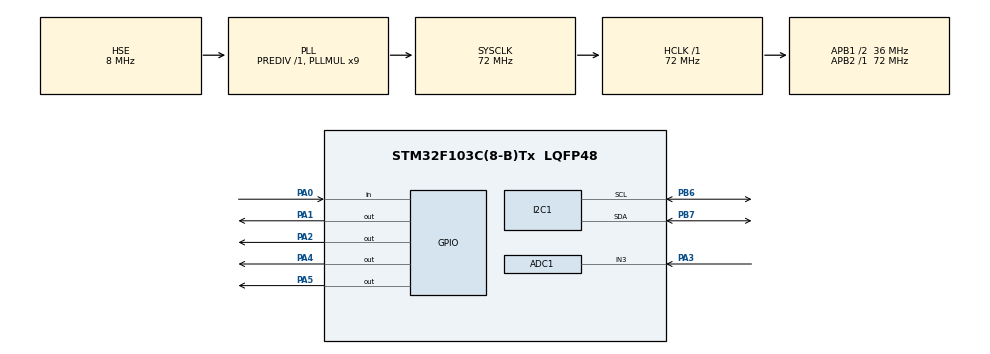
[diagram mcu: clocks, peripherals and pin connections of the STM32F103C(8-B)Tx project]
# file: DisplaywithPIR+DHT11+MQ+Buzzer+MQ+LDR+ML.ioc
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ADC1.Channel-0\#ChannelRegularConversion=ADC_CHANNEL_3
ADC1.NbrOfConversionFlag=1
ADC1.Rank-0\#ChannelRegularConversion=1
ADC1.SamplingTime-0\#ChannelRegularConversion=ADC_SAMPLETIME_1CYCLE_5
ADC1.master=1
I2C1.I2C_Mode=I2C_Fast
Mcu.Family=STM32F1
Mcu.Name=STM32F103C(8-B)Tx
Mcu.Package=LQFP48
NVIC.PriorityGroup=NVIC_PRIORITYGROUP_4
PA0-WKUP.Signal=GPIO_Input
PA1.Signal=GPIO_Output
PA2.Signal=GPIO_Output
PA3.Signal=ADCx_IN3
PA4.Signal=GPIO_Output
PA5.Signal=GPIO_Output
PB6.Mode=I2C
PB6.Signal=I2C1_SCL
PB7.Mode=I2C
PB7.Signal=I2C1_SDA
PD0-OSC_IN.Mode=HSE-External-Oscillator
PD0-OSC_IN.Signal=RCC_OSC_IN
PD1-OSC_OUT.Mode=HSE-External-Oscillator
PD1-OSC_OUT.Signal=RCC_OSC_OUT
ProjectManager.HeapSize=0x200
ProjectManager.StackSize=0x400
ProjectManager.TargetToolchain=STM32CubeIDE
RCC.ADCPresc=RCC_ADCPCLK2_DIV6
RCC.AHBFreq_Value=72000000
RCC.APB1CLKDivider=RCC_HCLK_DIV2
RCC.APB1Freq_Value=36000000
RCC.APB1TimFreq_Value=72000000
RCC.APB2Freq_Value=72000000
RCC.APB2TimFreq_Value=72000000
RCC.HCLKFreq_Value=72000000
RCC.PLLMUL=RCC_PLL_MUL9
RCC.PLLSourceVirtual=RCC_PLLSOURCE_HSE
RCC.SYSCLKFreq_VALUE=72000000
RCC.SYSCLKSource=RCC_SYSCLKSOURCE_PLLCLK
RCC.USBFreq_Value=72000000
SH.ADCx_IN3.0=ADC1_IN3,IN3
VP_SYS_VS_ND.Mode=No_Debug
board=custom

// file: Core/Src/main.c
/* USER CODE BEGIN Header */
/**
  ******************************************************************************
  * @file           : main.c
  * @brief          : HomeMonitoringSystem - PIR, DHT11, MQ-2, LDR DO,
  *                   Buzzer, SSD1306 OLED and compact TinyML classifier.
  ******************************************************************************
  */
/* USER CODE END Header */

#include "main.h"

/* USER CODE BEGIN Includes */
#include "fonts.h"
#include "ssd1306.h"
#include <stdio.h>
/* USER CODE END Includes */

/* USER CODE BEGIN PD */

#define DHT11_PORT              GPIOA
#define DHT11_PIN               GPIO_PIN_2

/* MQ-2 is connected to PA3 / ADC1_IN3. */

/*
 * MQ-2 thresholds are raw STM32 12-bit ADC readings.
 *
 * Initial values only. Tune after observing the normal-air
 * "MQ2 RAW" reading on OLED Page 2.
 */
#define GAS_WARNING_LEVEL       1200U
#define GAS_THRESHOLD           1600U

/* MQ-2 averaging and smoothing. */
#define MQ2_SAMPLE_COUNT        8U
#define MQ2_FILTER_SHIFT        2U

/* Display and sensor scheduling. */
#define DHT_READ_INTERVAL_MS    2000U
#define SENSOR_READ_INTERVAL_MS 200U
#define PAGE_INTERVAL_MS        1000U

/* PIR requires time to stabilize after power-up. */
#define PIR_WARMUP_TIME_MS      60000U

/* TinyML safety-classifier configuration. */
#define ML_ADC_MAX              4095.0f
#define ML_TEMP_NORMAL          25.0f
#define ML_TEMP_WARNING         35.0f
#define ML_TEMP_DANGER          45.0f

typedef enum
{
    ML_SAFE = 0,
    ML_WATCH,
    ML_GAS_LEAK,
    ML_FIRE_RISK,
    ML_INTRUDER
} ML_Class;

typedef struct
{
    ML_Class prediction;
    float confidence;
    float safe_score;
    float watch_score;
    float gas_score;
    float fire_score;
    float intruder_score;
    uint8_t alarm_required;
    uint8_t extinguisher_sim_on;
} ML_Result;

typedef enum
{
    PAGE_ENVIRONMENT = 0,
    PAGE_GAS_LIGHT,
    PAGE_MOTION_ML
} Display_Page;

/* USER CODE END PD */

ADC_HandleTypeDef hadc1;
I2C_HandleTypeDef hi2c1;

/* USER CODE BEGIN PV */

/*
 * Smoothed MQ-2 ADC value.
 */
static uint32_t mq2_filtered_value = 0U;
static uint8_t mq2_filter_ready = 0U;

/*
 * Time at which PIR stabilization starts.
 */
static uint32_t pir_startup_time = 0U;

/* USER CODE END PV */

void SystemClock_Config(void);
static void MX_GPIO_Init(void);
static void MX_ADC1_Init(void);
static void MX_I2C1_Init(void);

/* USER CODE BEGIN PFP */

/* DHT11 functions */
static void DHT11_Pin_Output(void);
static void DHT11_Pin_Input(void);
static void DHT11_Delay_us(uint32_t us);
static void DHT11_DWT_Init(void);

static uint8_t DHT11_WaitForState(
    GPIO_PinState state,
    uint32_t timeout_us
);

static uint8_t DHT11_Read(
    uint8_t *temperature,
    uint8_t *humidity
);

/* MQ-2 functions */
static uint32_t MQ2_ReadRaw(void);
static uint32_t MQ2_ReadAverage(void);
static uint32_t MQ2_ReadFiltered(void);

/* PIR and LDR functions */
static uint8_t ReadStableDigitalInput(
    uint16_t pin
);

static uint8_t PIR_ReadTuned(void);

/* TinyML functions */
static float ML_Clamp01(float value);

static float ML_Normalize(
    float value,
    float minimum,
    float maximum
);

static ML_Result ML_RunInference(
    uint8_t temperature,
    uint8_t humidity,
    uint32_t mq2_value,
    uint8_t dark_condition,
    uint8_t motion
);

static const char *ML_GetLabel(
    ML_Class prediction
);

/* OLED functions */
static void OLED_ShowHeader(
    uint8_t page_number
);

static void OLED_ShowCommonML(
    const ML_Result *ml_result
);

static void OLED_ShowEnvironmentPage(
    uint8_t dht11_ok,
    uint8_t temperature,
    uint8_t humidity,
    const ML_Result *ml_result
);

static void OLED_ShowGasLightPage(
    uint32_t mq2_value,
    uint8_t dark_condition,
    const ML_Result *ml_result
);

static void OLED_ShowMotionPage(
    uint8_t motion,
    uint32_t mq2_value,
    const ML_Result *ml_result
);

/* USER CODE END PFP */

/* USER CODE BEGIN 0 */

/* ============================================================
   DHT11 functions
   ============================================================ */

static void DHT11_Pin_Output(void)
{
    GPIO_InitTypeDef GPIO_InitStruct = {0};

    GPIO_InitStruct.Pin = DHT11_PIN;

    /*
     * Open-drain avoids driving the data line high against
     * the DHT11 sensor's pull-up resistor.
     */
    GPIO_InitStruct.Mode = GPIO_MODE_OUTPUT_OD;
    GPIO_InitStruct.Pull = GPIO_PULLUP;
    GPIO_InitStruct.Speed = GPIO_SPEED_FREQ_HIGH;

    HAL_GPIO_Init(DHT11_PORT, &GPIO_InitStruct);
}

static void DHT11_Pin_Input(void)
{
    GPIO_InitTypeDef GPIO_InitStruct = {0};

    GPIO_InitStruct.Pin = DHT11_PIN;
    GPIO_InitStruct.Mode = GPIO_MODE_INPUT;
    GPIO_InitStruct.Pull = GPIO_PULLUP;

    HAL_GPIO_Init(DHT11_PORT, &GPIO_InitStruct);
}

static void DHT11_Delay_us(uint32_t us)
{
    uint32_t start = DWT->CYCCNT;
    uint32_t ticks =
        us * (HAL_RCC_GetHCLKFreq() / 1000000U);

    while ((DWT->CYCCNT - start) < ticks)
    {
    }
}

static void DHT11_DWT_Init(void)
{
    CoreDebug->DEMCR |= CoreDebug_DEMCR_TRCENA_Msk;
    DWT->CYCCNT = 0U;
    DWT->CTRL |= DWT_CTRL_CYCCNTENA_Msk;
}

static uint8_t DHT11_WaitForState(
    GPIO_PinState state,
    uint32_t timeout_us
)
{
    uint32_t start = DWT->CYCCNT;

    uint32_t ticks =
        timeout_us *
        (HAL_RCC_GetHCLKFreq() / 1000000U);

    while (HAL_GPIO_ReadPin(DHT11_PORT, DHT11_PIN) != state)
    {
        if ((DWT->CYCCNT - start) > ticks)
        {
            return 0U;
        }
    }

    return 1U;
}

static uint8_t DHT11_Read(
    uint8_t *temperature,
    uint8_t *humidity
)
{
    uint8_t data[5] = {0U};
    uint8_t i;

    uint32_t start;
    uint32_t high_ticks;
    uint32_t high_us;
    uint32_t timeout_ticks;

    uint32_t cycles_per_us =
        HAL_RCC_GetHCLKFreq() / 1000000U;

    DHT11_Pin_Output();

    HAL_GPIO_WritePin(
        DHT11_PORT,
        DHT11_PIN,
        GPIO_PIN_RESET
    );

    HAL_Delay(20U);

    HAL_GPIO_WritePin(
        DHT11_PORT,
        DHT11_PIN,
        GPIO_PIN_SET
    );

    DHT11_Delay_us(30U);
    DHT11_Pin_Input();

    if (!DHT11_WaitForState(GPIO_PIN_RESET, 100U))
    {
        return 0U;
    }

    if (!DHT11_WaitForState(GPIO_PIN_SET, 100U))
    {
        return 0U;
    }

    if (!DHT11_WaitForState(GPIO_PIN_RESET, 100U))
    {
        return 0U;
    }

    for (i = 0U; i < 40U; i++)
    {
        if (!DHT11_WaitForState(GPIO_PIN_SET, 100U))
        {
            return 0U;
        }

        start = DWT->CYCCNT;
        timeout_ticks = 120U * cycles_per_us;

        while (
            HAL_GPIO_ReadPin(
                DHT11_PORT,
                DHT11_PIN
            ) == GPIO_PIN_SET
        )
        {
            if ((DWT->CYCCNT - start) > timeout_ticks)
            {
                return 0U;
            }
        }

        high_ticks = DWT->CYCCNT - start;
        high_us = high_ticks / cycles_per_us;

        data[i / 8U] <<= 1U;

        if (high_us > 40U)
        {
            data[i / 8U] |= 1U;
        }
    }

    if (
        (uint8_t)(
            data[0] +
            data[1] +
            data[2] +
            data[3]
        ) != data[4]
    )
    {
        return 0U;
    }

    *humidity = data[0];
    *temperature = data[2];

    return 1U;
}

/* ============================================================
   MQ-2 functions
   ============================================================ */

static uint32_t MQ2_ReadRaw(void)
{
    ADC_ChannelConfTypeDef sConfig = {0};
    uint32_t adc_value = 0U;

    sConfig.Channel = ADC_CHANNEL_3;
    sConfig.Rank = ADC_REGULAR_RANK_1;
    sConfig.SamplingTime = ADC_SAMPLETIME_239CYCLES_5;

    if (HAL_ADC_ConfigChannel(&hadc1, &sConfig) != HAL_OK)
    {
        Error_Handler();
    }

    if (HAL_ADC_Start(&hadc1) != HAL_OK)
    {
        Error_Handler();
    }

    if (HAL_ADC_PollForConversion(&hadc1, 100U) == HAL_OK)
    {
        adc_value = HAL_ADC_GetValue(&hadc1);
    }

    HAL_ADC_Stop(&hadc1);

    return adc_value;
}

static uint32_t MQ2_ReadAverage(void)
{
    uint32_t sum = 0U;
    uint8_t i;

    for (i = 0U; i < MQ2_SAMPLE_COUNT; i++)
    {
        sum += MQ2_ReadRaw();
        HAL_Delay(2U);
    }

    return sum / MQ2_SAMPLE_COUNT;
}

static uint32_t MQ2_ReadFiltered(void)
{
    uint32_t new_average;
    int32_t difference;

    new_average = MQ2_ReadAverage();

    if (mq2_filter_ready == 0U)
    {
        mq2_filtered_value = new_average;
        mq2_filter_ready = 1U;

        return mq2_filtered_value;
    }

    /*
     * Exponential moving average:
     *
     * filtered = filtered + (new - filtered) / 4
     *
     * MQ2_FILTER_SHIFT = 2 means division by 4.
     */
    difference =
        (int32_t)new_average -
        (int32_t)mq2_filtered_value;

    mq2_filtered_value =
        (uint32_t)(
            (int32_t)mq2_filtered_value +
            (difference >> MQ2_FILTER_SHIFT)
        );

    return mq2_filtered_value;
}

/* ============================================================
   PIR and LDR digital functions
   ============================================================ */

static uint8_t ReadStableDigitalInput(
    uint16_t pin
)
{
    uint8_t high_count = 0U;
    uint8_t i;

    for (i = 0U; i < 3U; i++)
    {
        if (HAL_GPIO_ReadPin(GPIOA, pin) == GPIO_PIN_SET)
        {
            high_count++;
        }

        HAL_Delay(5U);
    }

    return (high_count >= 2U) ? 1U : 0U;
}

static uint8_t PIR_ReadTuned(void)
{
    /*
     * HC-SR501 may be unstable for around 30 to 60 seconds
     * after the power supply is connected.
     */
    if (
        (HAL_GetTick() - pir_startup_time) <
        PIR_WARMUP_TIME_MS
    )
    {
        return 0U;
    }

    return ReadStableDigitalInput(GPIO_PIN_0);
}

/* ============================================================
   TinyML classifier
   ============================================================ */

static float ML_Clamp01(float value)
{
    if (value < 0.0f)
    {
        return 0.0f;
    }

    if (value > 1.0f)
    {
        return 1.0f;
    }

    return value;
}

static float ML_Normalize(
    float value,
    float minimum,
    float maximum
)
{
    if (maximum <= minimum)
    {
        return 0.0f;
    }

    return ML_Clamp01(
        (value - minimum) /
        (maximum - minimum)
    );
}

static ML_Result ML_RunInference(
    uint8_t temperature,
    uint8_t humidity,
    uint32_t mq2_value,
    uint8_t dark_condition,
    uint8_t motion
)
{
    ML_Result result = {0};

    float x_temp;
    float x_humidity;
    float x_gas;
    float x_dark;
    float x_motion;
    float temp_difference;
    float normal_temp_score;

    x_temp = ML_Normalize(
        (float)temperature,
        15.0f,
        50.0f
    );

    x_humidity = ML_Normalize(
        (float)humidity,
        20.0f,
        95.0f
    );

    x_gas = ML_Normalize(
        (float)mq2_value,
        0.0f,
        ML_ADC_MAX
    );

    x_dark = dark_condition ? 1.0f : 0.0f;
    x_motion = motion ? 1.0f : 0.0f;

    temp_difference =
        (float)temperature -
        ML_TEMP_NORMAL;

    if (temp_difference < 0.0f)
    {
        temp_difference = -temp_difference;
    }

    normal_temp_score =
        1.0f -
        ML_Clamp01(
            temp_difference / 20.0f
        );

    result.safe_score = ML_Clamp01(
        normal_temp_score * 0.30f +
        (1.0f - x_gas) * 0.35f +
        (1.0f - x_dark) * 0.10f +
        (1.0f - x_motion) * 0.20f +
        (1.0f - x_humidity) * 0.05f
    );

    result.watch_score = ML_Clamp01(
        x_temp * 0.25f +
        x_gas * 0.30f +
        x_dark * 0.20f +
        x_humidity * 0.10f +
        x_motion * 0.15f
    );

    result.gas_score = ML_Clamp01(
        x_gas * 0.75f +
        x_dark * 0.10f +
        x_temp * 0.10f +
        x_humidity * 0.05f
    );

    result.fire_score = ML_Clamp01(
        x_temp * 0.48f +
        x_gas * 0.35f +
        x_dark * 0.10f +
        x_humidity * 0.07f
    );

    result.intruder_score = ML_Clamp01(
        x_motion * 0.92f +
        x_dark * 0.05f +
        x_gas * 0.02f +
        x_temp * 0.01f
    );

    if (motion && (mq2_value >= GAS_THRESHOLD))
    {
        result.prediction = ML_INTRUDER;

        result.confidence = ML_Clamp01(
            (
                result.intruder_score +
                result.gas_score
            ) / 2.0f
        );

        result.alarm_required = 1U;

        return result;
    }

    if (motion)
    {
        result.prediction = ML_INTRUDER;
        result.confidence = result.intruder_score;
        result.alarm_required = 1U;

        return result;
    }

    if (mq2_value >= GAS_THRESHOLD)
    {
        result.prediction = ML_GAS_LEAK;
        result.confidence = result.gas_score;

        if (result.confidence < 0.70f)
        {
            result.confidence = 0.70f;
        }

        result.alarm_required = 1U;
        result.extinguisher_sim_on = 1U;

        return result;
    }

    if (
        (temperature >= ML_TEMP_DANGER) ||
        (
            (temperature >= ML_TEMP_WARNING) &&
            (mq2_value >= GAS_WARNING_LEVEL)
        ) ||
        (result.fire_score >= 0.68f)
    )
    {
        result.prediction = ML_FIRE_RISK;
        result.confidence = result.fire_score;

        if (result.confidence < 0.70f)
        {
            result.confidence = 0.70f;
        }

        result.alarm_required = 1U;

        return result;
    }

    if (
        (temperature >= ML_TEMP_WARNING) ||
        (mq2_value >= GAS_WARNING_LEVEL) ||
        dark_condition ||
        (result.watch_score >= 0.42f)
    )
    {
        result.prediction = ML_WATCH;
        result.confidence = result.watch_score;
        result.alarm_required = 1U;

        return result;
    }

    result.prediction = ML_SAFE;
    result.confidence = result.safe_score;
    result.alarm_required = 0U;

    return result;
}

static const char *ML_GetLabel(
    ML_Class prediction
)
{
    switch (prediction)
    {
        case ML_SAFE:
            return "SAFE";

        case ML_WATCH:
            return "WATCH";

        case ML_GAS_LEAK:
            return "GAS LEAK";

        case ML_FIRE_RISK:
            return "FIRE RISK";

        case ML_INTRUDER:
            return "INTRUDER";

        default:
            return "UNKNOWN";
    }
}

/* ============================================================
   OLED display functions
   PRESERVED FROM YOUR ORIGINAL CODE
   ============================================================ */

static void OLED_ShowHeader(
    uint8_t page_number
)
{
    char header[22];

    snprintf(
        header,
        sizeof(header),
        "HomeMonitoring %u/3",
        page_number
    );

    SSD1306_GotoXY(0, 0);
    SSD1306_Puts(
        header,
        &Font_7x10,
        1
    );
}

static void OLED_ShowCommonML(
    const ML_Result *ml_result
)
{
    char line[22];

    snprintf(
        line,
        sizeof(line),
        "ML:%s %u%%",
        ML_GetLabel(
            ml_result->prediction
        ),
        (unsigned int)(
            ml_result->confidence * 100.0f
        )
    );

    SSD1306_GotoXY(0, 50);
    SSD1306_Puts(
        line,
        &Font_7x10,
        1
    );
}

static void OLED_ShowEnvironmentPage(
    uint8_t dht11_ok,
    uint8_t temperature,
    uint8_t humidity,
    const ML_Result *ml_result
)
{
    char line[22];

    SSD1306_Clear();

    OLED_ShowHeader(1U);

    if (dht11_ok)
    {
        snprintf(
            line,
            sizeof(line),
            "TEMP: %u C",
            temperature
        );

        SSD1306_GotoXY(0, 15);
        SSD1306_Puts(
            line,
            &Font_7x10,
            1
        );

        snprintf(
            line,
            sizeof(line),
            "HUM : %u %%",
            humidity
        );

        SSD1306_GotoXY(0, 28);
        SSD1306_Puts(
            line,
            &Font_7x10,
            1
        );
    }
    else
    {
        SSD1306_GotoXY(0, 15);
        SSD1306_Puts(
            "DHT11 ERROR",
            &Font_7x10,
            1
        );

        SSD1306_GotoXY(0, 28);
        SSD1306_Puts(
            "CHECK DHT11",
            &Font_7x10,
            1
        );
    }

    SSD1306_GotoXY(0, 39);
    SSD1306_Puts(
        "ENVIRONMENT PAGE",
        &Font_7x10,
        1
    );

    OLED_ShowCommonML(ml_result);

    SSD1306_UpdateScreen();
}

static void OLED_ShowGasLightPage(
    uint32_t mq2_value,
    uint8_t dark_condition,
    const ML_Result *ml_result
)
{
    char line[22];

    SSD1306_Clear();

    OLED_ShowHeader(2U);

    snprintf(
        line,
        sizeof(line),
        "MQ2 RAW: %lu",
        (unsigned long)mq2_value
    );

    SSD1306_GotoXY(0, 15);
    SSD1306_Puts(
        line,
        &Font_7x10,
        1
    );

    SSD1306_GotoXY(0, 28);

    if (mq2_value >= GAS_THRESHOLD)
    {
        SSD1306_Puts(
            "GAS: DANGER",
            &Font_7x10,
            1
        );
    }
    else if (mq2_value >= GAS_WARNING_LEVEL)
    {
        SSD1306_Puts(
            "GAS: WATCH",
            &Font_7x10,
            1
        );
    }
    else
    {
        SSD1306_Puts(
            "GAS: NORMAL",
            &Font_7x10,
            1
        );
    }

    SSD1306_GotoXY(0, 39);

    SSD1306_Puts(
        dark_condition
            ? "LDR: DARK"
            : "LDR: LIGHT",
        &Font_7x10,
        1
    );

    OLED_ShowCommonML(ml_result);

    SSD1306_UpdateScreen();
}

static void OLED_ShowMotionPage(
    uint8_t motion,
    uint32_t mq2_value,
    const ML_Result *ml_result
)
{
    char line[22];
    uint8_t buzzer_should_ring;

    buzzer_should_ring =
        (
            (mq2_value >= GAS_THRESHOLD) &&
            (motion == 0U)
        ) ? 1U : 0U;

    SSD1306_Clear();

    OLED_ShowHeader(3U);

    SSD1306_GotoXY(0, 15);

    SSD1306_Puts(
        motion
            ? "PIR: MOTION YES"
            : "PIR: NO MOTION",
        &Font_7x10,
        1
    );

    SSD1306_GotoXY(0, 28);

    if (buzzer_should_ring)
    {
        SSD1306_Puts(
            "ACTION: BUZZER ON",
            &Font_7x10,
            1
        );
    }
    else if (ml_result->extinguisher_sim_on)
    {
        SSD1306_Puts(
            "ACTION: EXTING ON",
            &Font_7x10,
            1
        );
    }
    else
    {
        SSD1306_Puts(
            "ACTION: BUZZER OFF",
            &Font_7x10,
            1
        );
    }

    snprintf(
        line,
        sizeof(line),
        "CONF: %u%%",
        (unsigned int)(
            ml_result->confidence * 100.0f
        )
    );

    SSD1306_GotoXY(0, 39);
    SSD1306_Puts(
        line,
        &Font_7x10,
        1
    );

    OLED_ShowCommonML(ml_result);

    SSD1306_UpdateScreen();
}

/* USER CODE END 0 */

int main(void)
{
    uint8_t temperature = 0U;
    uint8_t humidity = 0U;
    uint8_t dht11_ok = 0U;

    uint8_t motion = 0U;
    uint8_t ldr_digital = 0U;
    uint8_t dark_condition = 0U;

    uint8_t buzzer_should_ring = 0U;

    uint32_t mq2_value = 0U;

    uint32_t last_dht_read = 0U;
    uint32_t last_sensor_read = 0U;
    uint32_t last_page_change = 0U;

    Display_Page current_page = PAGE_ENVIRONMENT;

    ML_Result ml_result = {0};

    HAL_Init();

    SystemClock_Config();

    MX_GPIO_Init();
    MX_ADC1_Init();
    MX_I2C1_Init();

    /* USER CODE BEGIN 2 */

    DHT11_DWT_Init();

    if (HAL_ADCEx_Calibration_Start(&hadc1) != HAL_OK)
    {
        Error_Handler();
    }

    SSD1306_Init();

    SSD1306_Clear();

    SSD1306_GotoXY(0, 8);
    SSD1306_Puts(
        "HomeMonitoring",
        &Font_7x10,
        1
    );

    SSD1306_GotoXY(0, 24);
    SSD1306_Puts(
        "System",
        &Font_11x18,
        1
    );

    SSD1306_GotoXY(0, 48);
    SSD1306_Puts(
        "Starting...",
        &Font_7x10,
        1
    );

    SSD1306_UpdateScreen();

    HAL_Delay(1500U);

    /*
     * Start PIR stabilization timing after the startup screen.
     * For the next 60 seconds, PIR_ReadTuned() returns no motion.
     */
    pir_startup_time = HAL_GetTick();

    /*
     * Take initial measurements.
     */
    dht11_ok = DHT11_Read(
        &temperature,
        &humidity
    );

    mq2_value = MQ2_ReadFiltered();

    ldr_digital = ReadStableDigitalInput(
        GPIO_PIN_5
    );

    /*
     * LDR DO polarity:
     * HIGH = LIGHT
     * LOW  = DARK
     */
    dark_condition = !ldr_digital;

    motion = PIR_ReadTuned();

    ml_result = ML_RunInference(
        temperature,
        humidity,
        mq2_value,
        dark_condition,
        motion
    );

    last_dht_read = HAL_GetTick();
    last_sensor_read = HAL_GetTick();
    last_page_change = HAL_GetTick();

    /* USER CODE END 2 */

    while (1)
    {
        /*
         * DHT11 read once per two seconds.
         */
        if (
            (HAL_GetTick() - last_dht_read) >=
            DHT_READ_INTERVAL_MS
        )
        {
            last_dht_read = HAL_GetTick();

            dht11_ok = DHT11_Read(
                &temperature,
                &humidity
            );
        }

        /*
         * MQ-2, LDR, PIR and classifier update every 200 ms.
         */
        if (
            (HAL_GetTick() - last_sensor_read) >=
            SENSOR_READ_INTERVAL_MS
        )
        {
            last_sensor_read = HAL_GetTick();

            mq2_value = MQ2_ReadFiltered();

            ldr_digital = ReadStableDigitalInput(
                GPIO_PIN_5
            );

            /*
             * HIGH = LIGHT
             * LOW  = DARK
             */
            dark_condition = !ldr_digital;

            motion = PIR_ReadTuned();

            ml_result = ML_RunInference(
                temperature,
                humidity,
                mq2_value,
                dark_condition,
                motion
            );

            /*
             * LED follows PIR state.
             */
            HAL_GPIO_WritePin(
                GPIOA,
                GPIO_PIN_1,
                motion
                    ? GPIO_PIN_SET
                    : GPIO_PIN_RESET
            );

            /*
             * Buzzer ON only when:
             * MQ-2 exceeds the danger threshold
             * AND PIR detects no motion.
             */
            buzzer_should_ring =
                (
                    (mq2_value >= GAS_THRESHOLD) &&
                    (motion == 0U)
                ) ? 1U : 0U;

            HAL_GPIO_WritePin(
                GPIOA,
                GPIO_PIN_4,
                buzzer_should_ring
                    ? GPIO_PIN_SET
                    : GPIO_PIN_RESET
            );
        }

        /*
         * Original one-second page rotation.
         */
        if (
            (HAL_GetTick() - last_page_change) >=
            PAGE_INTERVAL_MS
        )
        {
            last_page_change = HAL_GetTick();

            if (current_page == PAGE_ENVIRONMENT)
            {
                current_page = PAGE_GAS_LIGHT;
            }
            else if (current_page == PAGE_GAS_LIGHT)
            {
                current_page = PAGE_MOTION_ML;
            }
            else
            {
                current_page = PAGE_ENVIRONMENT;
            }
        }

        /*
         * Original display update logic retained unchanged.
         */
        if (current_page == PAGE_ENVIRONMENT)
        {
            OLED_ShowEnvironmentPage(
                dht11_ok,
                temperature,
                humidity,
                &ml_result
            );
        }
        else if (current_page == PAGE_GAS_LIGHT)
        {
            OLED_ShowGasLightPage(
                mq2_value,
                dark_condition,
                &ml_result
            );
        }
        else
        {
            OLED_ShowMotionPage(
                motion,
                mq2_value,
                &ml_result
            );
        }

        HAL_Delay(40U);
    }
}

void SystemClock_Config(void)
{
    RCC_OscInitTypeDef RCC_OscInitStruct = {0};
    RCC_ClkInitTypeDef RCC_ClkInitStruct = {0};
    RCC_PeriphCLKInitTypeDef PeriphClkInit = {0};

    RCC_OscInitStruct.OscillatorType =
        RCC_OSCILLATORTYPE_HSE;

    RCC_OscInitStruct.HSEState =
        RCC_HSE_ON;

    RCC_OscInitStruct.HSEPredivValue =
        RCC_HSE_PREDIV_DIV1;

    RCC_OscInitStruct.HSIState =
        RCC_HSI_ON;

    RCC_OscInitStruct.PLL.PLLState =
        RCC_PLL_ON;

    RCC_OscInitStruct.PLL.PLLSource =
        RCC_PLLSOURCE_HSE;

    RCC_OscInitStruct.PLL.PLLMUL =
        RCC_PLL_MUL9;

    if (HAL_RCC_OscConfig(&RCC_OscInitStruct) != HAL_OK)
    {
        Error_Handler();
    }

    RCC_ClkInitStruct.ClockType =
        RCC_CLOCKTYPE_HCLK |
        RCC_CLOCKTYPE_SYSCLK |
        RCC_CLOCKTYPE_PCLK1 |
        RCC_CLOCKTYPE_PCLK2;

    RCC_ClkInitStruct.SYSCLKSource =
        RCC_SYSCLKSOURCE_PLLCLK;

    RCC_ClkInitStruct.AHBCLKDivider =
        RCC_SYSCLK_DIV1;

    RCC_ClkInitStruct.APB1CLKDivider =
        RCC_HCLK_DIV2;

    RCC_ClkInitStruct.APB2CLKDivider =
        RCC_HCLK_DIV1;

    if (
        HAL_RCC_ClockConfig(
            &RCC_ClkInitStruct,
            FLASH_LATENCY_2
        ) != HAL_OK
    )
    {
        Error_Handler();
    }

    PeriphClkInit.PeriphClockSelection =
        RCC_PERIPHCLK_ADC;

    PeriphClkInit.AdcClockSelection =
        RCC_ADCPCLK2_DIV6;

    if (
        HAL_RCCEx_PeriphCLKConfig(
            &PeriphClkInit
        ) != HAL_OK
    )
    {
        Error_Handler();
    }
}

static void MX_ADC1_Init(void)
{
    ADC_ChannelConfTypeDef sConfig = {0};

    hadc1.Instance = ADC1;

    hadc1.Init.ScanConvMode =
        ADC_SCAN_DISABLE;

    hadc1.Init.ContinuousConvMode =
        DISABLE;

    hadc1.Init.DiscontinuousConvMode =
        DISABLE;

    hadc1.Init.ExternalTrigConv =
        ADC_SOFTWARE_START;

    hadc1.Init.DataAlign =
        ADC_DATAALIGN_RIGHT;

    hadc1.Init.NbrOfConversion = 1;

    if (HAL_ADC_Init(&hadc1) != HAL_OK)
    {
        Error_Handler();
    }

    sConfig.Channel = ADC_CHANNEL_3;
    sConfig.Rank = ADC_REGULAR_RANK_1;
    sConfig.SamplingTime =
        ADC_SAMPLETIME_239CYCLES_5;

    if (
        HAL_ADC_ConfigChannel(
            &hadc1,
            &sConfig
        ) != HAL_OK
    )
    {
        Error_Handler();
    }
}

static void MX_I2C1_Init(void)
{
    hi2c1.Instance = I2C1;

    /*
     * Original I2C configuration retained.
     */
    hi2c1.Init.ClockSpeed = 400000;

    hi2c1.Init.DutyCycle =
        I2C_DUTYCYCLE_2;

    hi2c1.Init.OwnAddress1 = 0;

    hi2c1.Init.AddressingMode =
        I2C_ADDRESSINGMODE_7BIT;

    hi2c1.Init.DualAddressMode =
        I2C_DUALADDRESS_DISABLE;

    hi2c1.Init.OwnAddress2 = 0;

    hi2c1.Init.GeneralCallMode =
        I2C_GENERALCALL_DISABLE;

    hi2c1.Init.NoStretchMode =
        I2C_NOSTRETCH_DISABLE;

    if (HAL_I2C_Init(&hi2c1) != HAL_OK)
    {
        Error_Handler();
    }
}

static void MX_GPIO_Init(void)
{
    GPIO_InitTypeDef GPIO_InitStruct = {0};

    __HAL_RCC_GPIOD_CLK_ENABLE();
    __HAL_RCC_GPIOA_CLK_ENABLE();
    __HAL_RCC_GPIOB_CLK_ENABLE();

    HAL_GPIO_WritePin(
        GPIOA,
        GPIO_PIN_1 |
        GPIO_PIN_2 |
        GPIO_PIN_4,
        GPIO_PIN_RESET
    );

    /*
     * PA0 = PIR output.
     * PA5 = LDR digital DO.
     */
    GPIO_InitStruct.Pin =
        GPIO_PIN_0 |
        GPIO_PIN_5;

    GPIO_InitStruct.Mode =
        GPIO_MODE_INPUT;

    GPIO_InitStruct.Pull =
        GPIO_NOPULL;

    HAL_GPIO_Init(
        GPIOA,
        &GPIO_InitStruct
    );

    /*
     * PA1 = LED
     * PA2 = DHT11 data
     * PA4 = Buzzer
     */
    GPIO_InitStruct.Pin =
        GPIO_PIN_1 |
        GPIO_PIN_2 |
        GPIO_PIN_4;

    GPIO_InitStruct.Mode =
        GPIO_MODE_OUTPUT_PP;

    GPIO_InitStruct.Pull =
        GPIO_NOPULL;

    GPIO_InitStruct.Speed =
        GPIO_SPEED_FREQ_LOW;

    HAL_GPIO_Init(
        GPIOA,
        &GPIO_InitStruct
    );

    /*
     * PA3 = ADC1_IN3, MQ-2 analog output.
     */
    GPIO_InitStruct.Pin = GPIO_PIN_3;

    GPIO_InitStruct.Mode =
        GPIO_MODE_ANALOG;

    HAL_GPIO_Init(
        GPIOA,
        &GPIO_InitStruct
    );
}

void Error_Handler(void)
{
    __disable_irq();

    while (1)
    {
    }
}
